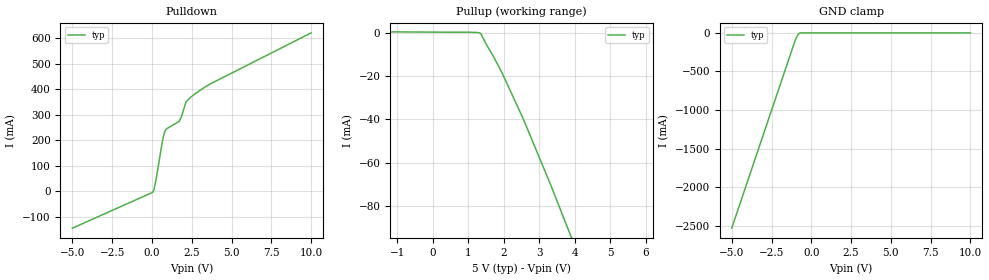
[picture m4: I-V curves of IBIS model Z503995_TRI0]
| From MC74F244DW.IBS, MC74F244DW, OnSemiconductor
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| (C) COPYRIGHT 1993-2000
| MENTOR GRAPHICS CORPORATION
| ICX STANDARD LIBRARY, ICX PROJECT MODELING,
| ICX CUSTOM MODELING, ICX VENDOR MODEL
| ALL RIGHTS RESERVED.
| THE FOLLOWING ARE TRADEMARKS OR SERVICE MARKS OF
| MENTOR GRAPHICS CORPORATION:ICX (R), ICX STANDARD
| LIBRARY(R), ICX PROJECT MODELING(R), ICX CUSTOM
| MODELING(R), qualityIBIS(TM), MODELVIEWER(TM),
| AND MODELEDITOR(TM)
| ALL COPIES OF SOFTWARE, INCLUDING BUT NOT LIMITED TO
| ANY MODIFICATIONS, ENHANCEMENTS OR DERIVATIVE WORKS,
| MUST CONTAIN ALL MENTOR GRAPHICS CORPORATION'S
| NOTICES AND LEGENDS, INCLUDING THOSE EMBEDDED IN
| SOFTWARE AND THOSE AFFIXED TO SOFTWARE MEDIUM
| AND CONTAINER, AS RECEIVED FROM MENTOR GRAPHICS
| CORPORATION.
| Model Application Version 1.89 2/18/99.
[Model] Z503995_TRI0
Model_type 3-state
Vref=0.000V
Rref=500.0ohms
Cref=50.00pF
Vmeas=1.500V
C_comp 8.000pF NA NA
| variable typ   min   max
[Voltage Range] 5.000V NA NA
[POWER Clamp Reference] 5.000V NA NA
[Pullup Reference] 5.000V NA NA
[Pulldown Reference] 0.000V NA NA
[GND Clamp Reference] 0.000V NA NA
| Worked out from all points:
|   slope of the pulldown table from 0 to 0.75 V, typ, clamps not added: 3.31 ohm
|   slope of the pullup table from 0 to 0.75 V, typ, clamps not added: 18.5 kohm
|   GND clamp passes 1 mA (typ) near -0.72 V on its own axis
[GND Clamp]
-5V       -2.532A    NA         NA
-1.011V   -95.45mA   NA         NA
-878.5mV  -37.2mA    NA         NA
-786.7mV  -11.07mA   NA         NA
-715.2mV  0A         NA         NA
10V       0A         NA         NA
[Pulldown]
-5V       -144.4mA   NA         NA
68.74mV   -1.755mA   NA         NA
124.3mV   6.083mA    NA         NA
273.5mV   52.23mA    NA         NA
625.3mV   185.5mA    NA         NA
810.7mV   235.3mA    NA         NA
1.728V    276.1mA    NA         NA
1.863V    295mA      NA         NA
2.14V     351.5mA    NA         NA
2.439V    369.7mA    NA         NA
3.64V     420.9mA    NA         NA
10V       621.9mA    NA         NA
[Pullup]
-5V       725.8uA    NA         NA
403.5mV   182.3uA    NA         NA
1.003V    182.3uA    NA         NA
1.279V    42.4uA     NA         NA
1.323V    -187.5uA   NA         NA
1.362V    -621.1uA   NA         NA
1.513V    -5.484mA   NA         NA
1.709V    -10.94mA   NA         NA
1.942V    -18.12mA   NA         NA
2.558V    -39.97mA   NA         NA
3.32V     -69.94mA   NA         NA
10V       -347.4mA   NA         NA
[POWER Clamp]
-5V       0A         NA         NA
10V       0A         NA         NA
[Ramp]
| variable typ min max
dV/dt_r 2.014/1.952n NA NA
dV/dt_f 2.014/774.4p NA NA
R_load = 500.0Ohms
